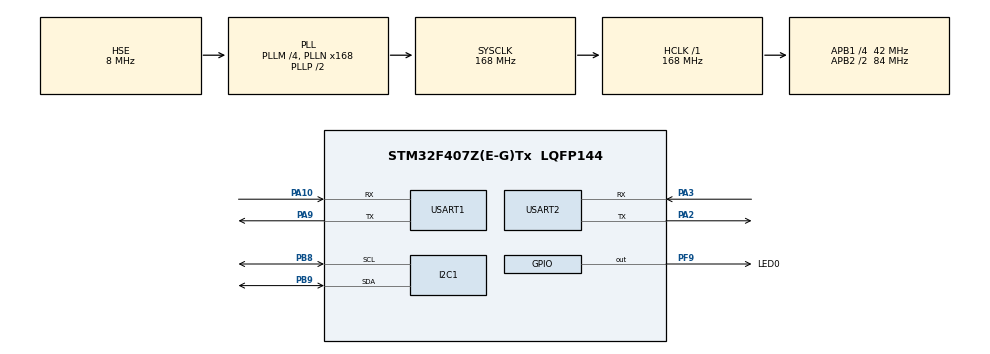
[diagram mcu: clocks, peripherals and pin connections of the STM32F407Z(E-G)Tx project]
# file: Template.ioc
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Mcu.Family=STM32F4
Mcu.Name=STM32F407Z(E-G)Tx
Mcu.Package=LQFP144
NVIC.PriorityGroup=NVIC_PRIORITYGROUP_4
NVIC.USART2_IRQn=true\:0\:0\:false\:false\:true\:true\:true
PA10.Mode=Asynchronous
PA10.Signal=USART1_RX
PA13.Mode=Serial_Wire
PA13.Signal=SYS_JTMS-SWDIO
PA14.Mode=Serial_Wire
PA14.Signal=SYS_JTCK-SWCLK
PA2.Mode=Asynchronous
PA2.Signal=USART2_TX
PA3.Mode=Asynchronous
PA3.Signal=USART2_RX
PA9.Mode=Asynchronous
PA9.Signal=USART1_TX
PB8.Mode=I2C
PB8.Signal=I2C1_SCL
PB9.Mode=I2C
PB9.Signal=I2C1_SDA
PF9.GPIO_Label=LED0
PF9.PinState=GPIO_PIN_SET
PF9.Signal=GPIO_Output
PH0-OSC_IN.Mode=HSE-External-Oscillator
PH0-OSC_IN.Signal=RCC_OSC_IN
PH1-OSC_OUT.Mode=HSE-External-Oscillator
PH1-OSC_OUT.Signal=RCC_OSC_OUT
ProjectManager.HeapSize=0x200
ProjectManager.StackSize=0x400
ProjectManager.TargetToolchain=MDK-ARM V5.27
RCC.48MHZClocksFreq_Value=84000000
RCC.AHBFreq_Value=168000000
RCC.APB1CLKDivider=RCC_HCLK_DIV4
RCC.APB1Freq_Value=42000000
RCC.APB1TimFreq_Value=84000000
RCC.APB2CLKDivider=RCC_HCLK_DIV2
RCC.APB2Freq_Value=84000000
RCC.APB2TimFreq_Value=168000000
RCC.CortexFreq_Value=168000000
RCC.HCLKFreq_Value=168000000
RCC.HSE_VALUE=8000000
RCC.HSI_VALUE=16000000
RCC.LSE_VALUE=32768
RCC.PLLM=4
RCC.PLLN=168
RCC.PLLSourceVirtual=RCC_PLLSOURCE_HSE
RCC.SYSCLKFreq_VALUE=168000000
RCC.SYSCLKSource=RCC_SYSCLKSOURCE_PLLCLK
RCC.VCOOutputFreq_Value=336000000
USART1.VirtualMode=VM_ASYNC
USART2.VirtualMode=VM_ASYNC
board=custom

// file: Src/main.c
/* USER CODE BEGIN Header */
/**
  ******************************************************************************
  * @file           : main.c
  * @brief          : Main program body
  ******************************************************************************
  * @attention
  *
  * <h2><center>&copy; Copyright (c) 2020 STMicroelectronics.
  * All rights reserved.</center></h2>
  *
  * This software component is licensed by ST under BSD 3-Clause license,
  * the "License"; You may not use this file except in compliance with the
  * License. You may obtain a copy of the License at:
  *                        opensource.org/licenses/BSD-3-Clause
  *
  ******************************************************************************
  */
/* USER CODE END Header */

#include "main.h"
#include "i2c.h"
#include "usart.h"
#include "gpio.h"

/* USER CODE BEGIN Includes */
#include <stdio.h>
#include "bmp280.h"
#include <string.h>
#include <stdlib.h>
#include "esp8266_at.h"
#include "esp8266_mqtt.h"
/* USER CODE END Includes */

/* USER CODE BEGIN PD */

//WIFI配置
#define WIFI_NAME     "OPPO R15 meng"
#define WIFI_PASSWD   "00000000"

//阿里云服务器的登陆配置
#define MQTT_BROKERADDRESS    "a1ZtK7S3DOC.iot-as-mqtt.cn-shanghai.aliyuncs.com"
#define MQTT_BROKERPORT       1883
#define MQTT_CLIENTID         "12345|securemode=3,signmethod=hmacsha1,timestamp=0|"
#define MQTT_USARNAME         "STM32F407_NODE1&a1ZtK7S3DOC"
#define MQTT_PASSWD           "EADACCBF85E81B6907CC2E139D57235F2DD09C24"
#define	MQTT_PUBLISH_TOPIC    "/sys/a1ZtK7S3DOC/STM32F407_NODE1/thing/event/property/post"
#define MQTT_SUBSCRIBE_TOPIC  "/sys/a1ZtK7S3DOC/STM32F407_NODE1/thing/event/property/post_reply"

/* USER CODE END PD */

void SystemClock_Config(void);

/* USER CODE BEGIN 0 */

//UART2接收数据中断的回调函数
void HAL_UART_RxCpltCallback(UART_HandleTypeDef *huart)
{
  HAL_StatusTypeDef status;

  rx_buf[rx_index++] = rx_byte;
  do {
    status = HAL_UART_Receive_IT(&huart2, &rx_byte, 1);
  } while(status != HAL_OK);
}

//MQTT初始化函数
void ESP8266_MQTT_Init(void)
{
  uint8_t status = 0;

  while(status < 5){
    //0.ESP8266初始化
    if(ESP8266_Init()){
      printf("ESP8266初始化成功！\r\n");
      status++;
    } else {
      printf("ESP8266初始化失败！\r\n");
    }
    //1.连接热点
    if(status == 1){
      if(ESP8266_ConnectAP(WIFI_NAME, WIFI_PASSWD)){
        printf("ESP8266连接热点成功！\r\n");
        status++;
      } else {
        printf("ESP8266连接热点失败！\r\n");
      }
    }
    //2.连接阿里云IOT服务器
    if(status == 2){
      if(ESP8266_ConnectServer("TCP", MQTT_BROKERADDRESS, MQTT_BROKERPORT) != 0){
        printf("ESP8266连接阿里云服务器成功！\r\n");
        status++;
      } else {
        printf("ESP8266连接阿里云服务器失败！\r\n");
      }
    }
    //3.MQTT登录阿里云
    if(status == 3){
      if(MQTT_Connect(MQTT_CLIENTID, MQTT_USARNAME, MQTT_PASSWD) != 0){
        printf("ESP8266阿里云MQTT登陆成功！\r\n");
        status++;
      } else {
        printf("ESP8266阿里云MQTT登陆失败！\r\n");
      }
    }
    //4.订阅主题
    if(status == 4){
      if(MQTT_SubscribeTopic(MQTT_SUBSCRIBE_TOPIC,0,1) != 0){
        printf("ESP8266阿里云MQTT订阅主题成功！\r\n");
        status++;
      } else {
        printf("ESP8266阿里云MQTT订阅主题失败！\r\n");
      }
    }
  }
}

/* USER CODE END 0 */

int main(void)
{
  /* USER CODE BEGIN 1 */
	float temperature;
  char mqtt_message[300];	//MQTT的上报消息缓存

  /* USER CODE END 1 */

  /* MCU Configuration--------------------------------------------------------*/

  /* Reset of all peripherals, Initializes the Flash interface and the Systick. */
  HAL_Init();

  /* Configure the system clock */
  SystemClock_Config();

  /* Initialize all configured peripherals */
  MX_GPIO_Init();
  MX_USART1_UART_Init();
  MX_I2C1_Init();
  MX_USART2_UART_Init();
  /* USER CODE BEGIN 2 */
  bmp280_init();
  HAL_UART_Receive_IT(&huart2, &rx_byte, 1);
  ESP8266_MQTT_Init();

  /* USER CODE END 2 */

  /* Infinite loop */
  while (1)
  {

    /* USER CODE BEGIN 3 */
    HAL_GPIO_TogglePin(LED0_GPIO_Port, LED0_Pin);

    temperature = bmp280_get_temp();
    printf("temperature = %f\r\n", temperature);
    sprintf(mqtt_message,
            "{\"id\":%d,\
              \"version\":\"1.0\",\
              \"params\":{\"CurrentTemperature\":%.02f\
                          },\
              \"method\":\"thing.event.property.post\"}",
             123, temperature);
    MQTT_PublishData(MQTT_PUBLISH_TOPIC, mqtt_message, 0);
    HAL_Delay(10000);
    if(rx_index > 0){
      printf("%s\r\n", (char *)rx_buf);
      clear_rx_buf();
    }
    //printf("%s\r\n", mqtt_message);

  }
  /* USER CODE END 3 */
}

void SystemClock_Config(void)
{
  RCC_OscInitTypeDef RCC_OscInitStruct = {0};
  RCC_ClkInitTypeDef RCC_ClkInitStruct = {0};

  /** Configure the main internal regulator output voltage
  */
  __HAL_RCC_PWR_CLK_ENABLE();
  __HAL_PWR_VOLTAGESCALING_CONFIG(PWR_REGULATOR_VOLTAGE_SCALE1);
  /** Initializes the CPU, AHB and APB busses clocks
  */
  RCC_OscInitStruct.OscillatorType = RCC_OSCILLATORTYPE_HSE;
  RCC_OscInitStruct.HSEState = RCC_HSE_ON;
  RCC_OscInitStruct.PLL.PLLState = RCC_PLL_ON;
  RCC_OscInitStruct.PLL.PLLSource = RCC_PLLSOURCE_HSE;
  RCC_OscInitStruct.PLL.PLLM = 4;
  RCC_OscInitStruct.PLL.PLLN = 168;
  RCC_OscInitStruct.PLL.PLLP = RCC_PLLP_DIV2;
  RCC_OscInitStruct.PLL.PLLQ = 4;
  if (HAL_RCC_OscConfig(&RCC_OscInitStruct) != HAL_OK)
  {
    Error_Handler();
  }
  /** Initializes the CPU, AHB and APB busses clocks
  */
  RCC_ClkInitStruct.ClockType = RCC_CLOCKTYPE_HCLK|RCC_CLOCKTYPE_SYSCLK
                              |RCC_CLOCKTYPE_PCLK1|RCC_CLOCKTYPE_PCLK2;
  RCC_ClkInitStruct.SYSCLKSource = RCC_SYSCLKSOURCE_PLLCLK;
  RCC_ClkInitStruct.AHBCLKDivider = RCC_SYSCLK_DIV1;
  RCC_ClkInitStruct.APB1CLKDivider = RCC_HCLK_DIV4;
  RCC_ClkInitStruct.APB2CLKDivider = RCC_HCLK_DIV2;

  if (HAL_RCC_ClockConfig(&RCC_ClkInitStruct, FLASH_LATENCY_5) != HAL_OK)
  {
    Error_Handler();
  }
}

void Error_Handler(void)
{
}

/************************ (C) COPYRIGHT STMicroelectronics *****END OF FILE****/
